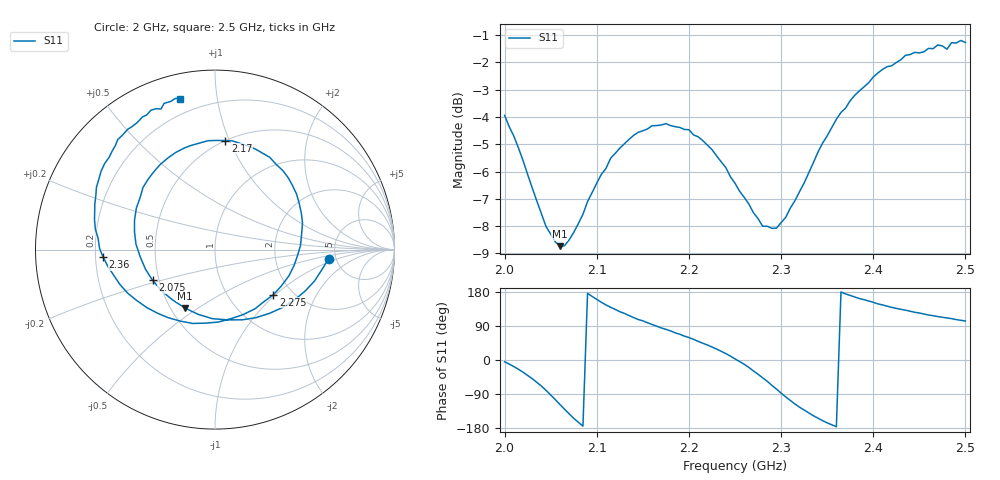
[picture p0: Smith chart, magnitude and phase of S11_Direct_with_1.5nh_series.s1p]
# HZ S RI R 50
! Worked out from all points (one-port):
!   101 points, 2 GHz to 2.5 GHz, reference 50 ohm
!   lowest |S11| = -8.7 dB at 2.06 GHz (marker M1), VSWR 2.15, Z = 29.5 - j22.1 ohm
!   |S11| at or under -10 dB: nowhere
!   S11 on the Smith chart (normalised r, x): 2 GHz: 4.35, -0.74; 2.075 GHz: 0.46, -0.18; 2.17 GHz: 0.50, +0.97; 2.275 GHz: 1.60, -0.97; 2.36 GHz: 0.23, -0.03; 2.5 GHz: 0.12, +0.79
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2e9  0.6331 -0.0509
2.015e9  0.5041 -0.2292
2.035e9  0.2273 -0.3796
2.05e9  -0.0154 -0.3847
2.06e9  -0.1678 -0.3252
2.065e9  -0.2343 -0.282
2.075e9  -0.3482 -0.1705
2.09e9  -0.4404 0.0313
2.1e9  -0.4485 0.1629
2.125e9  -0.3364 0.439
2.145e9  -0.1709 0.566
2.17e9  0.0575 0.6071
2.19e9  0.2258 0.5598
2.2e9  0.3052 0.5139
2.225e9  0.4543 0.3096
2.25e9  0.4765 0.0238
2.265e9  0.4121 -0.1459
2.275e9  0.3255 -0.2509
2.3e9  0.019 -0.4037
2.315e9  -0.1946 -0.3981
2.34e9  -0.4868 -0.2424
2.36e9  -0.6232 -0.0422
2.375e9  -0.6662 0.1125
2.4e9  -0.6605 0.3474
2.415e9  -0.6148 0.4795
2.44e9  -0.5136 0.6399
2.47e9  -0.3565 0.7766
2.5e9  -0.1943 0.8414
